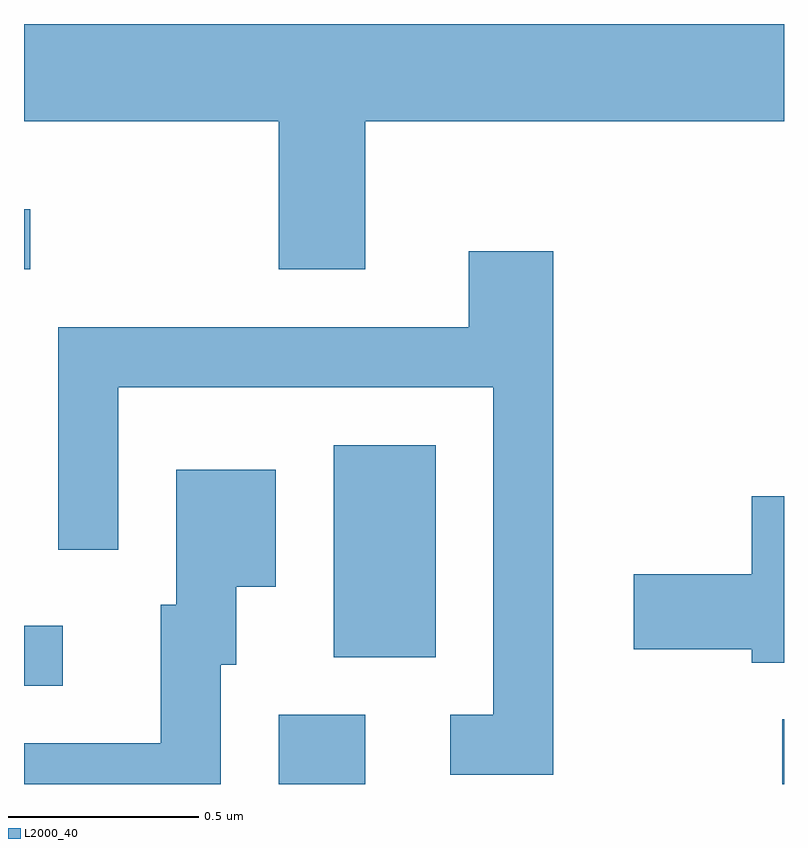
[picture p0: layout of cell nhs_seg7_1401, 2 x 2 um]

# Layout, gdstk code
import gdstk
lib = gdstk.Library(unit=1e-6, precision=1e-09)
def R(c, l, rs):  # rectangles x0, y0, x1, y1
    for r in rs: c.add(gdstk.rectangle(r[:2], r[2:], *l))
def P(c, l, *ps):  # polygons
    for p in ps: c.add(gdstk.Polygon(p, *l))
L2000_40 = (2000, 40)

nhs_seg7_1401 = lib.new_cell('nhs_seg7_1401')
R(nhs_seg7_1401, L2000_40, [(196.281,1699.252,196.509,1699.434), (197.606,1699.252,197.611,1699.423), (195.611,1699.511,195.713,1699.669), (196.426,1699.586,196.694,1700.144), (195.611,1700.606,195.628,1700.764)])
P(nhs_seg7_1401, L2000_40, [(196.509,1700.996),(197.611,1700.996),(197.611,1701.252),(195.611,1701.252),(195.611,1700.996),(196.281,1700.996),(196.281,1700.606),(196.509,1700.606)],
  [(197.004,1700.654),(196.781,1700.654),(196.781,1700.454),(195.701,1700.454),(195.701,1699.868),(195.859,1699.868),(195.859,1700.296),(196.846,1700.296),(196.846,1699.434),(196.733,1699.434),(196.733,1699.276),(197.004,1699.276)],
  [(196.129,1699.566),(196.169,1699.566),(196.169,1699.771),(196.274,1699.771),(196.274,1700.079),(196.011,1700.079),(196.011,1699.724),(195.971,1699.724),(195.971,1699.359),(195.611,1699.359),(195.611,1699.252),(196.129,1699.252)],
  [(197.611,1700.009),(197.526,1700.009),(197.526,1699.804),(197.216,1699.804),(197.216,1699.606),(197.526,1699.606),(197.526,1699.571),(197.611,1699.571)])

lib.write_gds('nhs_seg7_1401.gds')
